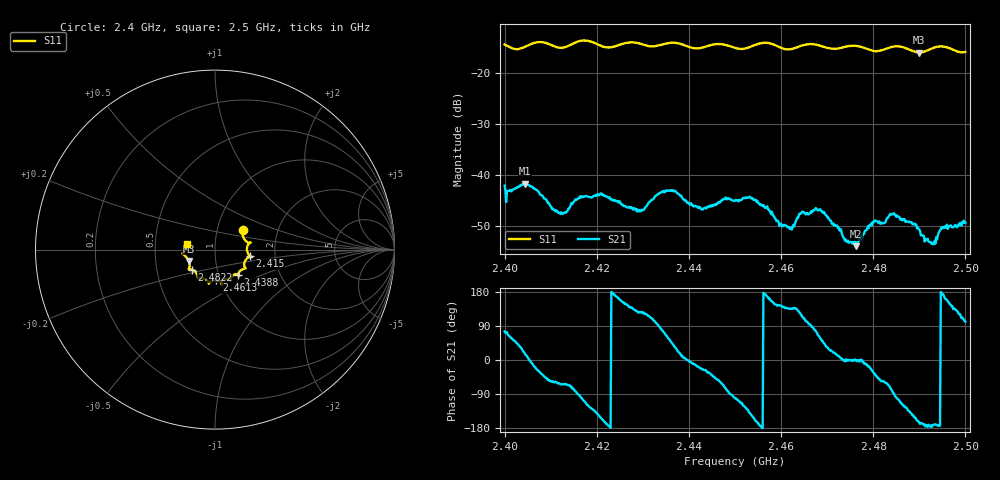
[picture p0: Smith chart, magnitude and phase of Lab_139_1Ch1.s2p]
# Hz S RI R 50
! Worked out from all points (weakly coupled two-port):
!   601 points, 2.4 GHz to 2.5 GHz, reference 50 ohm
!   highest |S21| = -41.77 dB at 2.4043 GHz (marker M1); lowest = -54.1 dB at 2.4762 GHz (marker M2)
!   lowest |S11| = -15.9 dB at 2.49 GHz (marker M3), VSWR 1.38, Z = 37 - j4.84 ohm
!   |S11| at or under -10 dB: start of sweep to end of sweep
!   S12 and S22 are empty: the file has one direction only
!   S11 on the Smith chart (normalised r, x): 2.4 GHz: 1.33, +0.31; 2.415 GHz: 1.48, -0.11; 2.4388 GHz: 1.24, -0.36; 2.4613 GHz: 0.96, -0.34; 2.4822 GHz: 0.76, -0.17; 2.5 GHz: 0.73, +0.05
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2.4e9  0.1558 0.1117  0.002 0.00756  0 0  0 0
2.404333e9  0.1752 0.0451  0.00773 0.00259  0 0  0 0
2.412167e9  0.1774 0.00347  0.00177 -0.0037  0 0  0 0
2.415e9  0.1937 -0.0351  0.00128 -0.00524  0 0  0 0
2.416667e9  0.2047 -0.0424  -0.000981 -0.00604  0 0  0 0
2.429333e9  0.1646 -0.106  -0.00254 0.00352  0 0  0 0
2.433333e9  0.1322 -0.1322  -0.000174 0.00652  0 0  0 0
2.438833e9  0.129 -0.139  0.00567 0.000557  0 0  0 0
2.443167e9  0.0898 -0.1557  0.0042 -0.00205  0 0  0 0
2.45e9  0.0689 -0.1636  -0.00103 -0.00545  0 0  0 0
2.454e9  0.0351 -0.1835  -0.00499 -0.00268  0 0  0 0
2.461333e9  0.00761 -0.1712  -0.0022 0.00211  0 0  0 0
2.466667e9  -0.0339 -0.1902  0.00021 0.00424  0 0  0 0
2.468833e9  -0.0358 -0.1807  0.00276 0.00335  0 0  0 0
2.476167e9  -0.0944 -0.1599  0.00198 -2.88e-05  0 0  0 0
2.48e9  -0.1068 -0.1267  0.00287 -0.00177  0 0  0 0
2.482167e9  -0.1283 -0.1117  0.00189 -0.00274  0 0  0 0
2.483333e9  -0.1394 -0.11  0.00151 -0.00358  0 0  0 0
2.49e9  -0.1465 -0.0638  -0.0028 -0.000708  0 0  0 0
2.493e9  -0.1749 -0.0279  -0.00209 -0.000287  0 0  0 0
2.495e9  -0.1819 -0.0211  -0.00296 0.000321  0 0  0 0
2.5e9  -0.1583 0.0338  -0.000656 0.00331  0 0  0 0
